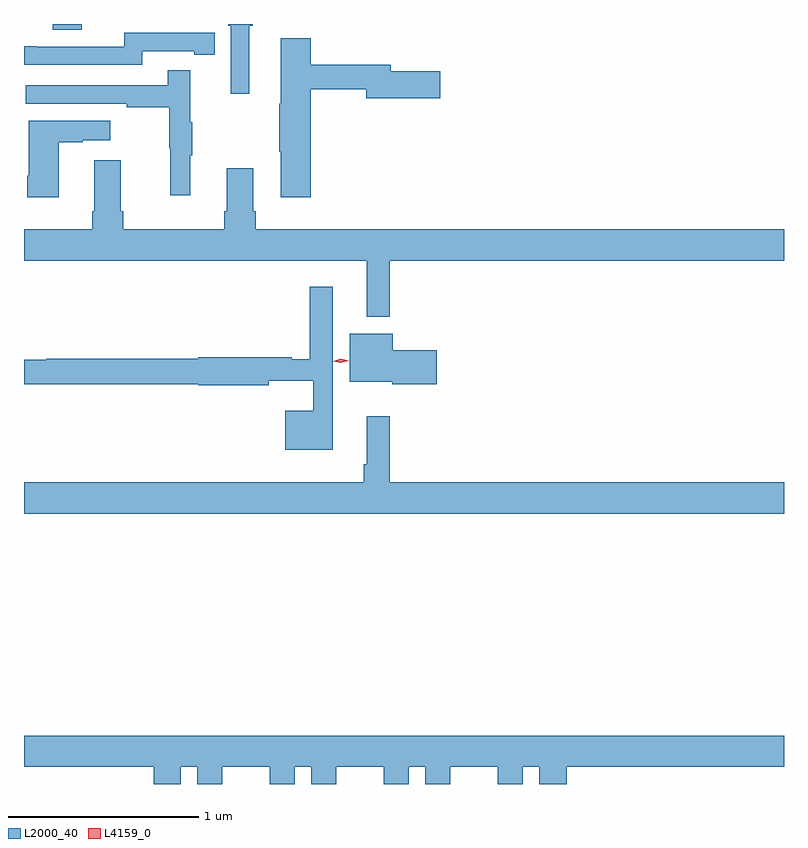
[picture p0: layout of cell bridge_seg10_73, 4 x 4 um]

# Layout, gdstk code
import gdstk
lib = gdstk.Library(unit=1e-6, precision=1e-09)
def R(c, l, rs):  # rectangles x0, y0, x1, y1
    for r in rs: c.add(gdstk.rectangle(r[:2], r[2:], *l))
def P(c, l, *ps):  # polygons
    for p in ps: c.add(gdstk.Polygon(p, *l))
L2000_40 = (2000, 40)
L4159_0 = (4159, 0)

bridge_seg10_73 = lib.new_cell('bridge_seg10_73')
R(bridge_seg10_73, L2000_40, [(692.942,1294.871,693.094,1294.901)])
P(bridge_seg10_73, L2000_40, [(693.976,1294.892),(693.995,1294.892),(693.995,1294.901),(693.866,1294.901),(693.866,1294.892),(693.879,1294.892),(693.879,1294.533),(693.976,1294.533)],
  [(693.414,1294.758),(693.686,1294.758),(693.686,1294.738),(693.794,1294.738),(693.794,1294.854),(693.686,1294.854),(693.686,1294.855),(693.318,1294.855),(693.318,1294.782),(692.858,1294.782),(692.858,1294.784),(692.791,1294.784),(692.791,1294.686),(693.414,1294.686)],
  [(694.301,1294.558),(694.592,1294.558),(694.592,1294.511),(694.981,1294.511),(694.981,1294.653),(694.72,1294.653),(694.72,1294.687),(694.301,1294.687),(694.301,1294.825),(694.142,1294.825),(694.142,1294.481),(694.135,1294.481),(694.135,1294.228),(694.142,1294.228),(694.142,1293.99),(694.301,1293.99)],
  [(693.665,1294.211),(693.676,1294.211),(693.676,1294.385),(693.665,1294.385),(693.665,1294.657),(693.547,1294.657),(693.547,1294.578),(692.799,1294.578),(692.799,1294.482),(693.331,1294.482),(693.331,1294.462),(693.555,1294.462),(693.555,1294.248),(693.562,1294.248),(693.562,1293.999),(693.665,1293.999)],
  [(692.974,1294.279),(693.101,1294.279),(693.101,1294.289),(693.244,1294.289),(693.244,1294.393),(692.816,1294.393),(692.816,1294.102),(692.809,1294.102),(692.809,1293.99),(692.974,1293.99)],
  [(694.717,1293.656),(696.791,1293.656),(696.791,1293.82),(694.01,1293.82),(694.01,1293.916),(693.997,1293.916),(693.997,1294.141),(693.857,1294.141),(693.857,1293.916),(693.845,1293.916),(693.845,1293.82),(693.314,1293.82),(693.314,1293.916),(693.301,1293.916),(693.301,1294.183),(693.161,1294.183),(693.161,1293.916),(693.149,1293.916),(693.149,1293.82),(692.791,1293.82),(692.791,1293.656),(694.595,1293.656),(694.595,1293.36),(694.717,1293.36)],
  [(694.417,1293.517),(694.296,1293.517),(694.296,1293.136),(694.199,1293.136),(694.199,1293.146),(693.708,1293.146),(693.708,1293.14),(692.908,1293.14),(692.908,1293.133),(692.791,1293.133),(692.791,1293.004),(693.708,1293.004),(693.708,1292.999),(694.08,1292.999),(694.08,1293.023),(694.313,1293.023),(694.313,1292.866),(694.166,1292.866),(694.166,1292.66),(694.417,1292.66)],
  [(694.963,1293.183),(694.732,1293.183),(694.732,1293.271),(694.505,1293.271),(694.505,1293.017),(694.728,1293.017),(694.728,1293.005),(694.963,1293.005)],
  [(696.791,1292.488),(694.717,1292.488),(694.717,1292.836),(694.595,1292.836),(694.595,1292.584),(694.578,1292.584),(694.578,1292.488),(692.791,1292.488),(692.791,1292.324),(696.791,1292.324)],
  [(693.616,1290.992),(693.704,1290.992),(693.704,1290.901),(693.835,1290.901),(693.835,1290.992),(694.085,1290.992),(694.085,1290.901),(694.216,1290.901),(694.216,1290.992),(694.304,1290.992),(694.304,1290.901),(694.435,1290.901),(694.435,1290.992),(694.685,1290.992),(694.685,1290.901),(694.816,1290.901),(694.816,1290.992),(694.904,1290.992),(694.904,1290.901),(695.035,1290.901),(695.035,1290.992),(695.285,1290.992),(695.285,1290.901),(695.416,1290.901),(695.416,1290.992),(695.504,1290.992),(695.504,1290.901),(695.648,1290.901),(695.648,1290.992),(696.791,1290.992),(696.791,1291.156),(692.791,1291.156),(692.791,1290.992),(693.473,1290.992),(693.473,1290.901),(693.616,1290.901)])
P(bridge_seg10_73, L4159_0, [(694.459,1293.118),(694.418,1293.127),(694.418,1293.127),(694.418,1293.127),(694.459,1293.138),(694.5,1293.129),(694.5,1293.129),(694.5,1293.129)])

lib.write_gds('bridge_seg10_73.gds')
